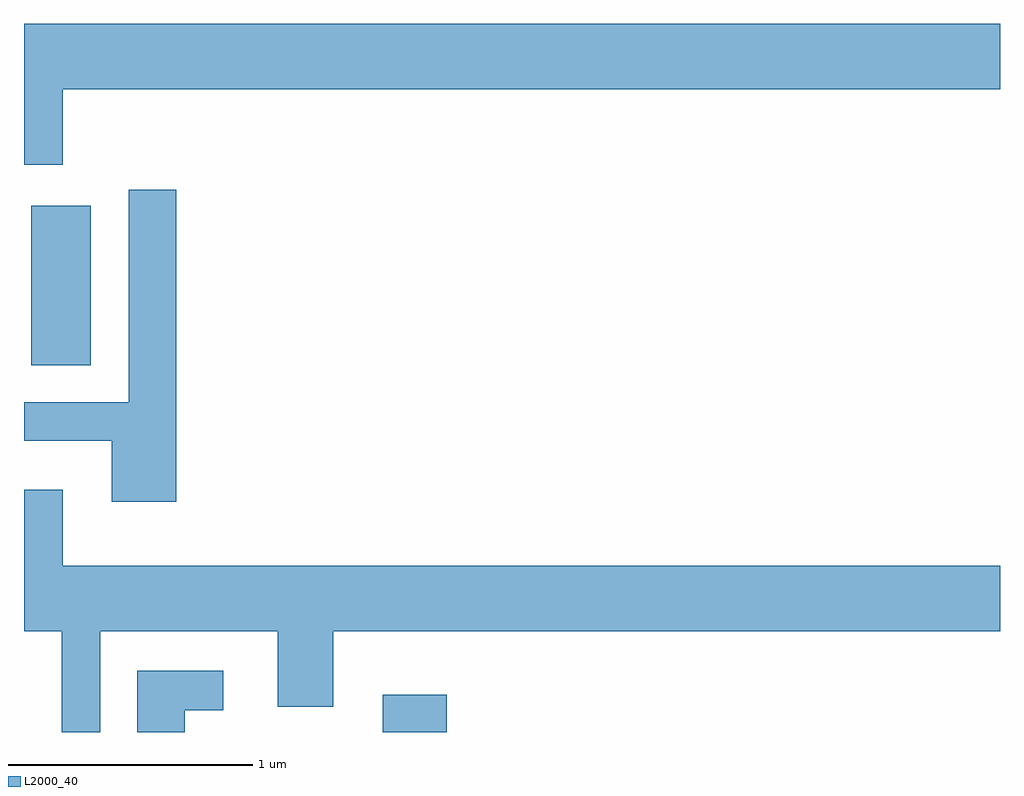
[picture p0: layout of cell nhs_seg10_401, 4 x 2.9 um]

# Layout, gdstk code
import gdstk
lib = gdstk.Library(unit=1e-6, precision=1e-09)
def R(c, l, rs):  # rectangles x0, y0, x1, y1
    for r in rs: c.add(gdstk.rectangle(r[:2], r[2:], *l))
def P(c, l, *ps):  # polygons
    for p in ps: c.add(gdstk.Polygon(p, *l))
L2000_40 = (2000, 40)

nhs_seg10_401 = lib.new_cell('nhs_seg10_401')
R(nhs_seg10_401, L2000_40, [(197.081,2204.522,197.344,2204.674), (195.641,2206.026,195.884,2206.679)])
P(nhs_seg10_401, L2000_40, [(195.769,2207.156),(199.611,2207.156),(199.611,2207.424),(195.611,2207.424),(195.611,2206.846),(195.769,2206.846)],
  [(196.234,2206.744),(196.041,2206.744),(196.041,2205.874),(195.611,2205.874),(195.611,2205.716),(195.971,2205.716),(195.971,2205.466),(196.234,2205.466)],
  [(195.924,2204.936),(196.651,2204.936),(196.651,2204.626),(196.879,2204.626),(196.879,2204.936),(199.611,2204.936),(199.611,2205.204),(195.769,2205.204),(195.769,2205.514),(195.611,2205.514),(195.611,2204.936),(195.766,2204.936),(195.766,2204.522),(195.924,2204.522)],
  [(196.269,2204.611),(196.428,2204.611),(196.428,2204.774),(196.076,2204.774),(196.076,2204.522),(196.269,2204.522)])

lib.write_gds('nhs_seg10_401.gds')
